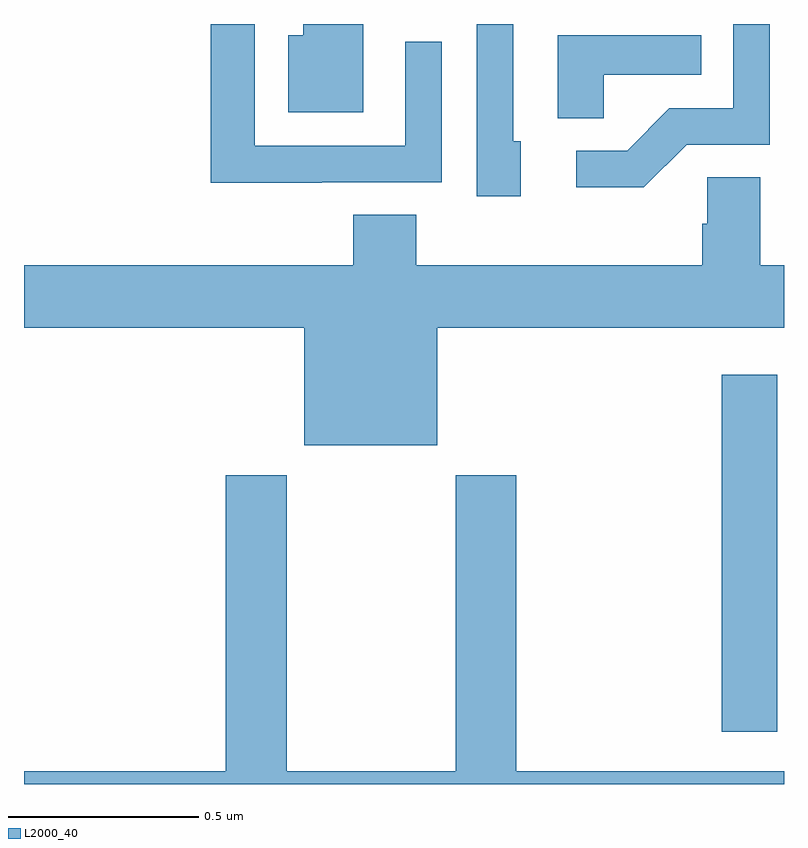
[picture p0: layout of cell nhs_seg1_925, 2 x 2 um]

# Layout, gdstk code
import gdstk
lib = gdstk.Library(unit=1e-6, precision=1e-09)
def R(c, l, rs):  # rectangles x0, y0, x1, y1
    for r in rs: c.add(gdstk.rectangle(r[:2], r[2:], *l))
def P(c, l, *ps):  # polygons
    for p in ps: c.add(gdstk.Polygon(p, *l))
L2000_40 = (2000, 40)

nhs_seg1_925 = lib.new_cell('nhs_seg1_925')
R(nhs_seg1_925, L2000_40, [(123.836,549.336,123.982,550.276)])
P(nhs_seg1_925, L2000_40, [(123.744,550.881),(123.963,550.881),(123.963,551.199),(123.867,551.199),(123.867,550.977),(123.698,550.977),(123.587,550.866),(123.453,550.866),(123.453,550.769),(123.631,550.769)],
  [(122.893,551.199),(122.735,551.199),(122.735,551.17),(122.696,551.17),(122.696,550.967),(122.893,550.967)],
  [(123.307,550.89),(123.288,550.89),(123.288,551.199),(123.192,551.199),(123.192,550.746),(123.307,550.746)],
  [(122.783,550.782),(123.099,550.782),(123.099,551.152),(123.003,551.152),(123.003,550.878),(122.607,550.878),(122.607,551.199),(122.491,551.199),(122.491,550.781),(122.783,550.781)],
  [(123.525,551.066),(123.782,551.066),(123.782,551.17),(123.404,551.17),(123.404,550.951),(123.525,550.951)],
  [(123.088,550.4),(124,550.4),(124,550.564),(123.937,550.564),(123.937,550.796),(123.798,550.796),(123.798,550.673),(123.785,550.673),(123.785,550.564),(123.032,550.564),(123.032,550.697),(122.867,550.697),(122.867,550.564),(122,550.564),(122,550.4),(122.738,550.4),(122.738,550.091),(123.088,550.091)],
  [(124,549.232),(123.296,549.232),(123.296,550.012),(123.136,550.012),(123.136,549.232),(122.691,549.232),(122.691,550.012),(122.531,550.012),(122.531,549.232),(122,549.232),(122,549.199),(124,549.199)])

lib.write_gds('nhs_seg1_925.gds')
